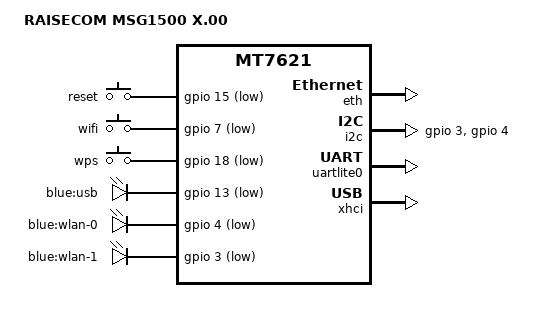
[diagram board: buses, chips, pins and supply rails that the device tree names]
// SPDX-License-Identifier: GPL-2.0+

/dts-v1/;
#include "mt7621.dtsi"

#include <dt-bindings/gpio/gpio.h>
#include <dt-bindings/input/input.h>

/ {
	model = "RAISECOM MSG1500 X.00";
	compatible = "raisecom,msg1500-x00", "mediatek,mt7621-soc";

	chosen {
		stdout-path = &uartlite0;
	};

	config {
		reset-button = "reset";
		wps-button = "wps";
		status1-led = "blue:usb";
	};

	keys {
		compatible = "gpio-keys";

		reset {
			label = "reset";
			gpios = <&gpio 15 GPIO_ACTIVE_LOW>;
			linux,code = <KEY_RESTART>;
		};

		wifi {
			label = "wifi";
			gpios = <&gpio 7 GPIO_ACTIVE_LOW>;
			linux,code = <KEY_RFKILL>;
		};

		wps {
			label = "wps";
			gpios = <&gpio 18 GPIO_ACTIVE_LOW>;
			linux,code = <KEY_WPS_BUTTON>;
		};
	};

	leds {
		compatible = "gpio-leds";

		led-usb {
			label = "blue:usb";
			gpios = <&gpio 13 GPIO_ACTIVE_LOW>;
			default-state = "on";
		};

		led-wlan0 {
			label = "blue:wlan-0";
			gpios = <&gpio 4 GPIO_ACTIVE_LOW>;
			default-state = "off";
		};

		led-wlan1 {
			label = "blue:wlan-1";
			gpios = <&gpio 3 GPIO_ACTIVE_LOW>;
			default-state = "off";
		};
	};
};

&eth {
	status = "okay";
};

&gpio {
	status = "okay";
};

&i2c {
	gpios = <&gpio 3 1>, /* PIN3 as SDA */
		<&gpio 4 1>; /* PIN4 as CLK */
};

&state_default {
	/delete-node/ rgmii2-gpio_pins;
	/delete-node/ spi_pins;
	/delete-node/ sdhci-gpio_pins;
};

&uartlite0 {
	status = "okay";
};

&xhci {
	status = "okay";
};
